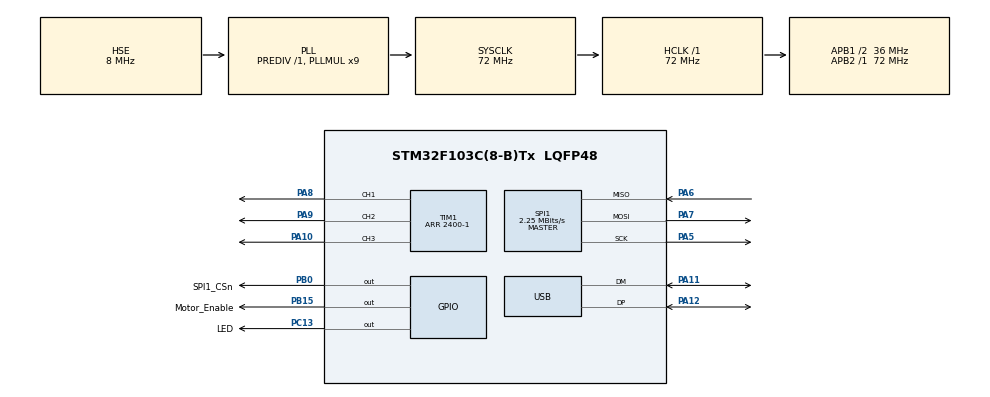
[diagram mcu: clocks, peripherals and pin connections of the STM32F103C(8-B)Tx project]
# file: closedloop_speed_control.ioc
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Mcu.Family=STM32F1
Mcu.Name=STM32F103C(8-B)Tx
Mcu.Package=LQFP48
NVIC.PriorityGroup=NVIC_PRIORITYGROUP_4
NVIC.TIM2_IRQn=true\:0\:0\:false\:false\:true\:true\:true\:true
NVIC.USB_LP_CAN1_RX0_IRQn=true\:0\:0\:false\:false\:true\:false\:true\:true
PA10.Signal=S_TIM1_CH3
PA11.Mode=Device
PA11.Signal=USB_DM
PA12.Mode=Device
PA12.Signal=USB_DP
PA5.Mode=Full_Duplex_Master
PA5.Signal=SPI1_SCK
PA6.GPIO_PuPd=GPIO_PULLUP
PA6.Mode=Full_Duplex_Master
PA6.Signal=SPI1_MISO
PA7.Mode=Full_Duplex_Master
PA7.Signal=SPI1_MOSI
PA8.Signal=S_TIM1_CH1
PA9.Signal=S_TIM1_CH2
PB0.GPIO_Label=SPI1_CSn
PB0.GPIO_Speed=GPIO_SPEED_FREQ_HIGH
PB0.PinState=GPIO_PIN_SET
PB0.Signal=GPIO_Output
PB15.GPIO_Label=Motor_Enable
PB15.Signal=GPIO_Output
PC13-TAMPER-RTC.GPIO_Label=LED
PC13-TAMPER-RTC.Signal=GPIO_Output
PD0-OSC_IN.Mode=HSE-External-Oscillator
PD0-OSC_IN.Signal=RCC_OSC_IN
PD1-OSC_OUT.Mode=HSE-External-Oscillator
PD1-OSC_OUT.Signal=RCC_OSC_OUT
ProjectManager.HeapSize=0x200
ProjectManager.StackSize=0x400
ProjectManager.TargetToolchain=STM32CubeIDE
RCC.AHBFreq_Value=72000000
RCC.APB1CLKDivider=RCC_HCLK_DIV2
RCC.APB1Freq_Value=36000000
RCC.APB1TimFreq_Value=72000000
RCC.APB2Freq_Value=72000000
RCC.APB2TimFreq_Value=72000000
RCC.HCLKFreq_Value=72000000
RCC.PLLMUL=RCC_PLL_MUL9
RCC.PLLSourceVirtual=RCC_PLLSOURCE_HSE
RCC.SYSCLKFreq_VALUE=72000000
RCC.SYSCLKSource=RCC_SYSCLKSOURCE_PLLCLK
RCC.USBFreq_Value=48000000
RCC.USBPrescaler=RCC_USBCLKSOURCE_PLL_DIV1_5
SH.S_TIM1_CH1.0=TIM1_CH1,PWM Generation1 CH1
SH.S_TIM1_CH2.0=TIM1_CH2,PWM Generation2 CH2
SH.S_TIM1_CH3.0=TIM1_CH3,PWM Generation3 CH3
SPI1.BaudRatePrescaler=SPI_BAUDRATEPRESCALER_32
SPI1.CalculateBaudRate=2.25 MBits/s
SPI1.DataSize=SPI_DATASIZE_16BIT
SPI1.Direction=SPI_DIRECTION_2LINES
SPI1.Mode=SPI_MODE_MASTER
SPI1.VirtualType=VM_MASTER
TIM1.Channel-PWM\ Generation1\ CH1=TIM_CHANNEL_1
TIM1.Channel-PWM\ Generation2\ CH2=TIM_CHANNEL_2
TIM1.Channel-PWM\ Generation3\ CH3=TIM_CHANNEL_3
TIM1.Period=2400-1
TIM2.Period=4000-1
TIM2.Prescaler=90-1
USB_DEVICE.CLASS_NAME_FS=CDC
USB_DEVICE.PRODUCT_STRING_CDC_FS=STM32 Virtual Port
USB_DEVICE.VirtualMode=Cdc
USB_DEVICE.VirtualModeFS=Cdc_FS
VP_SYS_VS_ND.Mode=No_Debug
VP_TIM1_VS_ClockSourceINT.Mode=Internal
VP_TIM2_VS_ClockSourceINT.Mode=Internal
VP_USB_DEVICE_VS_USB_DEVICE_CDC_FS.Mode=CDC_FS
board=custom

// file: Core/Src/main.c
/* USER CODE BEGIN Header */
/* USER CODE END Header */
#include "main.h"
#include "usb_device.h"

/* USER CODE BEGIN Includes */
#include <math.h>
#include "usbd_cdc_if.h"
#include "string.h"
#include "as5048a.h"
#include "pid.h"
#include "lowpass_filter.h"
/* USER CODE END Includes */

SPI_HandleTypeDef hspi1;

TIM_HandleTypeDef htim1;
TIM_HandleTypeDef htim2;

void SystemClock_Config(void);
static void MX_GPIO_Init(void);
static void MX_SPI1_Init(void);
static void MX_TIM1_Init(void);
static void MX_TIM2_Init(void);

/* USER CODE BEGIN 0 */
char data[50];

float open_loop_timestamp=0;
float zero_electric_angle=0;
float shaft_angle=0;
float voltage_limit=12;
float voltage_power_supply=12;
int period=2400; // period for the PWM
int dir=1; // anti clockwise direction is 1 , clockwise is -1
int pole_pairs=11;
int index1=0;
uint16_t raw1,raw2,raw3;
float motor_target= M_PI/6;
float Ts=5E-3f;
float Kp=0.167f;
float angle_prev=-1.0f;
float target_vel=5;
struct LowPassFilter filter= {.Tf=0.01,.y_prev=0.0f}; //Tf=10ms
// limit=voltage_power_supply/2;
struct PIDController pid_controller = {.P=0.5,.I=0.1,.D=0.0,.output_ramp=100.0,.limit=6,.error_prev=0,.output_prev=0,.integral_prev=0};

float cal_angular_vel(float angle_now){
    if (angle_prev < 0){
    	angle_prev=angle_now;
    	return 0;
    }
    float delta_angle=angle_now -angle_prev;
    if (delta_angle >= 1.6*M_PI){
    	delta_angle-=2*M_PI;
    }
    if (delta_angle <= -1.6*M_PI){
        	delta_angle+=2*M_PI;
    }
    angle_prev=angle_now;
    return delta_angle/Ts;

}
/* USER CODE END 0 */

int main(void)
{

  /* MCU Configuration--------------------------------------------------------*/

  /* Reset of all peripherals, Initializes the Flash interface and the Systick. */
  HAL_Init();

  /* Configure the system clock */
  SystemClock_Config();

  /* Initialize all configured peripherals */
  MX_GPIO_Init();
  MX_SPI1_Init();
  MX_USB_DEVICE_Init();
  MX_TIM1_Init();
  MX_TIM2_Init();
  /* USER CODE BEGIN 2 */
  HAL_GPIO_WritePin(Motor_Enable_GPIO_Port, Motor_Enable_Pin, GPIO_PIN_SET);
  HAL_TIM_PWM_Start(&htim1, TIM_CHANNEL_1);
  HAL_TIM_PWM_Start(&htim1, TIM_CHANNEL_2);
  HAL_TIM_PWM_Start(&htim1, TIM_CHANNEL_3);

  setPhaseVoltage(3,0,_electricalAngle(M_PI*1.5f,pole_pairs),TIM1);
  HAL_Delay(3000);
  uint16_t read_raw=read(&hspi1, SPI1_CSn_GPIO_Port,SPI1_CSn_Pin,AS5048A_ANGLE);
  zero_electric_angle=_electricalAngle(M_PI*read_raw/MAX_ANGLE_VALUE,pole_pairs);
  setPhaseVoltage(0,0,_electricalAngle(M_PI*1.5f,pole_pairs),TIM1);
  sprintf(data, "zero_electric_angle: %i \n", (int) floor(zero_electric_angle/M_PI*180));
  CDC_Transmit_FS((uint8_t*) data, strlen(data));
  HAL_TIM_Base_Start_IT(&htim2);
  /* USER CODE END 2 */

  /* Infinite loop */
  while (1)
    {

    }
}

void SystemClock_Config(void)
{
  RCC_OscInitTypeDef RCC_OscInitStruct = {0};
  RCC_ClkInitTypeDef RCC_ClkInitStruct = {0};
  RCC_PeriphCLKInitTypeDef PeriphClkInit = {0};

  /** Initializes the RCC Oscillators according to the specified parameters
  * in the RCC_OscInitTypeDef structure.
  */
  RCC_OscInitStruct.OscillatorType = RCC_OSCILLATORTYPE_HSE;
  RCC_OscInitStruct.HSEState = RCC_HSE_ON;
  RCC_OscInitStruct.HSEPredivValue = RCC_HSE_PREDIV_DIV1;
  RCC_OscInitStruct.HSIState = RCC_HSI_ON;
  RCC_OscInitStruct.PLL.PLLState = RCC_PLL_ON;
  RCC_OscInitStruct.PLL.PLLSource = RCC_PLLSOURCE_HSE;
  RCC_OscInitStruct.PLL.PLLMUL = RCC_PLL_MUL9;
  if (HAL_RCC_OscConfig(&RCC_OscInitStruct) != HAL_OK)
  {
    Error_Handler();
  }

  /** Initializes the CPU, AHB and APB buses clocks
  */
  RCC_ClkInitStruct.ClockType = RCC_CLOCKTYPE_HCLK|RCC_CLOCKTYPE_SYSCLK
                              |RCC_CLOCKTYPE_PCLK1|RCC_CLOCKTYPE_PCLK2;
  RCC_ClkInitStruct.SYSCLKSource = RCC_SYSCLKSOURCE_PLLCLK;
  RCC_ClkInitStruct.AHBCLKDivider = RCC_SYSCLK_DIV1;
  RCC_ClkInitStruct.APB1CLKDivider = RCC_HCLK_DIV2;
  RCC_ClkInitStruct.APB2CLKDivider = RCC_HCLK_DIV1;

  if (HAL_RCC_ClockConfig(&RCC_ClkInitStruct, FLASH_LATENCY_2) != HAL_OK)
  {
    Error_Handler();
  }
  PeriphClkInit.PeriphClockSelection = RCC_PERIPHCLK_USB;
  PeriphClkInit.UsbClockSelection = RCC_USBCLKSOURCE_PLL_DIV1_5;
  if (HAL_RCCEx_PeriphCLKConfig(&PeriphClkInit) != HAL_OK)
  {
    Error_Handler();
  }
}

static void MX_SPI1_Init(void)
{

  /* SPI1 parameter configuration*/
  hspi1.Instance = SPI1;
  hspi1.Init.Mode = SPI_MODE_MASTER;
  hspi1.Init.Direction = SPI_DIRECTION_2LINES;
  hspi1.Init.DataSize = SPI_DATASIZE_16BIT;
  hspi1.Init.CLKPolarity = SPI_POLARITY_LOW;
  hspi1.Init.CLKPhase = SPI_PHASE_1EDGE;
  hspi1.Init.NSS = SPI_NSS_SOFT;
  hspi1.Init.BaudRatePrescaler = SPI_BAUDRATEPRESCALER_32;
  hspi1.Init.FirstBit = SPI_FIRSTBIT_MSB;
  hspi1.Init.TIMode = SPI_TIMODE_DISABLE;
  hspi1.Init.CRCCalculation = SPI_CRCCALCULATION_DISABLE;
  hspi1.Init.CRCPolynomial = 10;
  if (HAL_SPI_Init(&hspi1) != HAL_OK)
  {
    Error_Handler();
  }

}

static void MX_TIM1_Init(void)
{

  TIM_ClockConfigTypeDef sClockSourceConfig = {0};
  TIM_MasterConfigTypeDef sMasterConfig = {0};
  TIM_OC_InitTypeDef sConfigOC = {0};
  TIM_BreakDeadTimeConfigTypeDef sBreakDeadTimeConfig = {0};

  htim1.Instance = TIM1;
  htim1.Init.Prescaler = 0;
  htim1.Init.CounterMode = TIM_COUNTERMODE_UP;
  htim1.Init.Period = 2400-1;
  htim1.Init.ClockDivision = TIM_CLOCKDIVISION_DIV1;
  htim1.Init.RepetitionCounter = 0;
  htim1.Init.AutoReloadPreload = TIM_AUTORELOAD_PRELOAD_DISABLE;
  if (HAL_TIM_Base_Init(&htim1) != HAL_OK)
  {
    Error_Handler();
  }
  sClockSourceConfig.ClockSource = TIM_CLOCKSOURCE_INTERNAL;
  if (HAL_TIM_ConfigClockSource(&htim1, &sClockSourceConfig) != HAL_OK)
  {
    Error_Handler();
  }
  if (HAL_TIM_PWM_Init(&htim1) != HAL_OK)
  {
    Error_Handler();
  }
  sMasterConfig.MasterOutputTrigger = TIM_TRGO_RESET;
  sMasterConfig.MasterSlaveMode = TIM_MASTERSLAVEMODE_DISABLE;
  if (HAL_TIMEx_MasterConfigSynchronization(&htim1, &sMasterConfig) != HAL_OK)
  {
    Error_Handler();
  }
  sConfigOC.OCMode = TIM_OCMODE_PWM1;
  sConfigOC.Pulse = 0;
  sConfigOC.OCPolarity = TIM_OCPOLARITY_HIGH;
  sConfigOC.OCNPolarity = TIM_OCNPOLARITY_HIGH;
  sConfigOC.OCFastMode = TIM_OCFAST_DISABLE;
  sConfigOC.OCIdleState = TIM_OCIDLESTATE_RESET;
  sConfigOC.OCNIdleState = TIM_OCNIDLESTATE_RESET;
  if (HAL_TIM_PWM_ConfigChannel(&htim1, &sConfigOC, TIM_CHANNEL_1) != HAL_OK)
  {
    Error_Handler();
  }
  if (HAL_TIM_PWM_ConfigChannel(&htim1, &sConfigOC, TIM_CHANNEL_2) != HAL_OK)
  {
    Error_Handler();
  }
  if (HAL_TIM_PWM_ConfigChannel(&htim1, &sConfigOC, TIM_CHANNEL_3) != HAL_OK)
  {
    Error_Handler();
  }
  sBreakDeadTimeConfig.OffStateRunMode = TIM_OSSR_DISABLE;
  sBreakDeadTimeConfig.OffStateIDLEMode = TIM_OSSI_DISABLE;
  sBreakDeadTimeConfig.LockLevel = TIM_LOCKLEVEL_OFF;
  sBreakDeadTimeConfig.DeadTime = 0;
  sBreakDeadTimeConfig.BreakState = TIM_BREAK_DISABLE;
  sBreakDeadTimeConfig.BreakPolarity = TIM_BREAKPOLARITY_HIGH;
  sBreakDeadTimeConfig.AutomaticOutput = TIM_AUTOMATICOUTPUT_DISABLE;
  if (HAL_TIMEx_ConfigBreakDeadTime(&htim1, &sBreakDeadTimeConfig) != HAL_OK)
  {
    Error_Handler();
  }
  HAL_TIM_MspPostInit(&htim1);

}

static void MX_TIM2_Init(void)
{

  TIM_ClockConfigTypeDef sClockSourceConfig = {0};
  TIM_MasterConfigTypeDef sMasterConfig = {0};

  htim2.Instance = TIM2;
  htim2.Init.Prescaler = 90-1;
  htim2.Init.CounterMode = TIM_COUNTERMODE_UP;
  htim2.Init.Period = 4000-1;
  htim2.Init.ClockDivision = TIM_CLOCKDIVISION_DIV1;
  htim2.Init.AutoReloadPreload = TIM_AUTORELOAD_PRELOAD_DISABLE;
  if (HAL_TIM_Base_Init(&htim2) != HAL_OK)
  {
    Error_Handler();
  }
  sClockSourceConfig.ClockSource = TIM_CLOCKSOURCE_INTERNAL;
  if (HAL_TIM_ConfigClockSource(&htim2, &sClockSourceConfig) != HAL_OK)
  {
    Error_Handler();
  }
  sMasterConfig.MasterOutputTrigger = TIM_TRGO_RESET;
  sMasterConfig.MasterSlaveMode = TIM_MASTERSLAVEMODE_DISABLE;
  if (HAL_TIMEx_MasterConfigSynchronization(&htim2, &sMasterConfig) != HAL_OK)
  {
    Error_Handler();
  }

}

static void MX_GPIO_Init(void)
{
  GPIO_InitTypeDef GPIO_InitStruct = {0};

  /* GPIO Ports Clock Enable */
  __HAL_RCC_GPIOC_CLK_ENABLE();
  __HAL_RCC_GPIOD_CLK_ENABLE();
  __HAL_RCC_GPIOA_CLK_ENABLE();
  __HAL_RCC_GPIOB_CLK_ENABLE();

  /*Configure GPIO pin Output Level */
  HAL_GPIO_WritePin(LED_GPIO_Port, LED_Pin, GPIO_PIN_RESET);

  /*Configure GPIO pin Output Level */
  HAL_GPIO_WritePin(SPI1_CSn_GPIO_Port, SPI1_CSn_Pin, GPIO_PIN_SET);

  /*Configure GPIO pin Output Level */
  HAL_GPIO_WritePin(Motor_Enable_GPIO_Port, Motor_Enable_Pin, GPIO_PIN_RESET);

  /*Configure GPIO pin : LED_Pin */
  GPIO_InitStruct.Pin = LED_Pin;
  GPIO_InitStruct.Mode = GPIO_MODE_OUTPUT_PP;
  GPIO_InitStruct.Pull = GPIO_NOPULL;
  GPIO_InitStruct.Speed = GPIO_SPEED_FREQ_LOW;
  HAL_GPIO_Init(LED_GPIO_Port, &GPIO_InitStruct);

  /*Configure GPIO pin : SPI1_CSn_Pin */
  GPIO_InitStruct.Pin = SPI1_CSn_Pin;
  GPIO_InitStruct.Mode = GPIO_MODE_OUTPUT_PP;
  GPIO_InitStruct.Pull = GPIO_NOPULL;
  GPIO_InitStruct.Speed = GPIO_SPEED_FREQ_HIGH;
  HAL_GPIO_Init(SPI1_CSn_GPIO_Port, &GPIO_InitStruct);

  /*Configure GPIO pin : Motor_Enable_Pin */
  GPIO_InitStruct.Pin = Motor_Enable_Pin;
  GPIO_InitStruct.Mode = GPIO_MODE_OUTPUT_PP;
  GPIO_InitStruct.Pull = GPIO_NOPULL;
  GPIO_InitStruct.Speed = GPIO_SPEED_FREQ_LOW;
  HAL_GPIO_Init(Motor_Enable_GPIO_Port, &GPIO_InitStruct);

}

/* USER CODE BEGIN 4 */
void HAL_TIM_PeriodElapsedCallback(TIM_HandleTypeDef *htim)
{
  // Check which version of the timer triggered this callback and toggle LED
  if (htim == &htim2 )
  {

    index1+=1;
    uint16_t read_raw=read(&hspi1, SPI1_CSn_GPIO_Port,SPI1_CSn_Pin,AS5048A_ANGLE);
    float angle_now=(float)read_raw /(float)MAX_ANGLE_VALUE *2*M_PI*dir;

//    close loop position control
//    float angle_error=motor_target-angle_now;
//
//    angle_error=_normalizeAngle(angle_error);
//    if (angle_error > M_PI){
//    	angle_error-=2*M_PI;
//    }
//    setPhaseVoltage(_constrain(Kp*(angle_error)/M_PI*180,-voltage_power_supply/2,voltage_power_supply/2),0,_electricalAngle(angle_now,pole_pairs),TIM1);
//    sprintf(data, "angle_error : %i \n", (int) floor(angle_error/M_PI*180));
//       CDC_Transmit_FS((uint8_t*) data, strlen(data));
    //    open loop speed control
//        velocityOpenloop(5,5.5,TIM1);
//    closed loop speed control
    float angular_vel=cal_angular_vel(angle_now);
    float filtered_vel=LowPassFilter_operator(angular_vel,&filter);
    float contorller_out=PID_operator(target_vel-filtered_vel,&pid_controller);
    setPhaseVoltage(_constrain(contorller_out,-voltage_power_supply/2,voltage_power_supply/2),  0, _electricalAngle(angle_now, pole_pairs),TIM1);
//    sprintf(data, "angle_now : %i \t angle_prev : %i \n", (int) floor(angle_now/M_PI*180), (int) floor(angle_prev/M_PI*180));
//    CDC_Transmit_FS((uint8_t*) data, strlen(data));
    sprintf(data, "angular_vel : %i \n", (int) floor(angular_vel/M_PI*180));
    CDC_Transmit_FS((uint8_t*) data, strlen(data));
//    sprintf(data, "open loop control \n");
//    sprintf(data, "angle: %u \n", read_raw);
//    CDC_Transmit_FS((uint8_t*) data, strlen(data));
//    sprintf(data, "angle_now : %i \n", (int) floor(angle_now*180/M_PI));
//        CDC_Transmit_FS((uint8_t*) data, strlen(data));

    if (index1 == 200){
    	HAL_GPIO_TogglePin(LED_GPIO_Port, LED_Pin);
    	index1=0;
    }
  }
}
/* USER CODE END 4 */

void Error_Handler(void)
{
}
